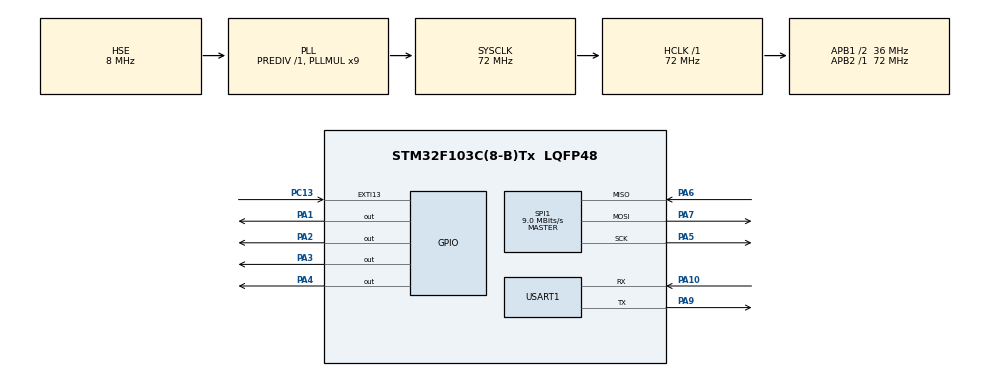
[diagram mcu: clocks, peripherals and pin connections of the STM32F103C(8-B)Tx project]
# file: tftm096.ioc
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Mcu.Family=STM32F1
RCC.PLLSourceVirtual=RCC_PLLSOURCE_HSE
PA6.Mode=Full_Duplex_Master
FREERTOS.Tasks01=defaultTask,24,128,StartDefaultTask,Default,NULL,Dynamic,NULL,NULL
PA7.Mode=Full_Duplex_Master
PD1-OSC_OUT.Mode=HSE-External-Oscillator
PA10.Mode=Asynchronous
SPI1.VirtualType=VM_MASTER
PC13-TAMPER-RTC.Signal=GPXTI13
PD0-OSC_IN.Signal=RCC_OSC_IN
RCC.APB1CLKDivider=RCC_HCLK_DIV2
RCC.SYSCLKSource=RCC_SYSCLKSOURCE_PLLCLK
ProjectManager.StackSize=0x400
VP_FREERTOS_VS_CMSIS_V2.Mode=CMSIS_V2
PD1-OSC_OUT.Signal=RCC_OSC_OUT
PA13.Signal=SYS_JTMS-SWDIO
PA9.Mode=Asynchronous
ProjectManager.TargetToolchain=Makefile
SPI1.Direction=SPI_DIRECTION_2LINES
RCC.HCLKFreq_Value=72000000
RCC.APB2TimFreq_Value=72000000
PA9.Signal=USART1_TX
SPI1.CalculateBaudRate=9.0 MBits/s
RCC.USBFreq_Value=72000000
PA1.Signal=GPIO_Output
RCC.AHBFreq_Value=72000000
PD0-OSC_IN.Mode=HSE-External-Oscillator
NVIC.EXTI15_10_IRQn=true\:5\:0\:false\:false\:true\:true\:true\:true
PA5.Signal=SPI1_SCK
board=custom
RCC.PLLMUL=RCC_PLL_MUL9
NVIC.SPI1_IRQn=true\:5\:0\:false\:false\:true\:true\:true\:true
RCC.APB2Freq_Value=72000000
SPI1.CRCCalculation=SPI_CRCCALCULATION_DISABLE
SPI1.Mode=SPI_MODE_MASTER
PA14.Mode=Serial_Wire
SPI1.FirstBit=SPI_FIRSTBIT_MSB
PA13.Mode=Serial_Wire
Mcu.Name=STM32F103C(8-B)Tx
PA2.Signal=GPIO_Output
PA4.Signal=GPIO_Output
RCC.SYSCLKFreq_VALUE=72000000
Mcu.Package=LQFP48
PA6.Signal=SPI1_MISO
NVIC.TimeBase=TIM4_IRQn
PC13-TAMPER-RTC.GPIO_PuPd=GPIO_PULLDOWN
USART1.VirtualMode=VM_ASYNC
NVIC.TimeBaseIP=TIM4
PA10.Signal=USART1_RX
PA14.Signal=SYS_JTCK-SWCLK
ProjectManager.HeapSize=0x200
VP_SYS_VS_tim4.Mode=TIM4
NVIC.PriorityGroup=NVIC_PRIORITYGROUP_4
RCC.APB1TimFreq_Value=72000000
NVIC.USART1_IRQn=true\:5\:0\:false\:false\:true\:true\:true\:true
NVIC.TIM4_IRQn=true\:0\:0\:false\:false\:true\:false\:false\:true
RCC.APB1Freq_Value=36000000
SPI1.BaudRatePrescaler=SPI_BAUDRATEPRESCALER_8
NVIC.RCC_IRQn=true\:5\:0\:false\:false\:true\:true\:true\:false
PA3.Signal=GPIO_Output
PA5.Mode=Full_Duplex_Master
PA7.Signal=SPI1_MOSI

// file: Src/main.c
/* USER CODE BEGIN Header */
/**
  ******************************************************************************
  * @file           : main.c
  * @brief          : Main program body
  ******************************************************************************
  * @attention
  *
  * <h2><center>&copy; Copyright (c) 2020 STMicroelectronics.
  * All rights reserved.</center></h2>
  *
  * This software component is licensed by ST under Ultimate Liberty license
  * SLA0044, the "License"; You may not use this file except in compliance with
  * the License. You may obtain a copy of the License at:
  *                             www.st.com/SLA0044
  *
  ******************************************************************************
  */
/* USER CODE END Header */

#include "main.h"
#include "cmsis_os.h"

/* USER CODE BEGIN Includes */
//#define ST7735_IS_80X160
#include <FreeRTOSConfig.h>
#include <projdefs.h>
#include <FreeRTOS.h>
#include <event_groups.h>
#include <task.h>
#include <stdlib.h>
#include <string.h>
#include "st7735/st7735.h"
#include "st7735/fonts.h"
#include "st7735/testimg.h"
/* USER CODE END Includes */

SPI_HandleTypeDef hspi1;

UART_HandleTypeDef huart1;

/* Definitions for defaultTask */
osThreadId_t defaultTaskHandle;
const osThreadAttr_t defaultTask_attributes = {
  .name = "defaultTask",
  .priority = (osPriority_t) osPriorityNormal,
  .stack_size = 128 * 4
};
/* USER CODE BEGIN PV */
static EventGroupHandle_t xEvtGrpGPIOInt;
#define EVENT_BIT_HUMAN_DETECT 0x01
#define EVENT_BITS_GPIO 0xFFFF
/* USER CODE END PV */

void SystemClock_Config(void);
static void MX_GPIO_Init(void);
static void MX_SPI1_Init(void);
static void MX_USART1_UART_Init(void);
void StartDefaultTask(void *argument);

int main(void)
{

  /* MCU Configuration--------------------------------------------------------*/

  /* Reset of all peripherals, Initializes the Flash interface and the Systick. */
  HAL_Init();

  /* Configure the system clock */
  SystemClock_Config();

  /* Initialize all configured peripherals */
  MX_GPIO_Init();
  MX_SPI1_Init();
  MX_USART1_UART_Init();
  /* USER CODE BEGIN 2 */
  ST7735_Init();
  xEvtGrpGPIOInt = xEventGroupCreate();
  /* USER CODE END 2 */

  /* Init scheduler */
  osKernelInitialize();

  /* Create the thread(s) */
  /* creation of defaultTask */
  defaultTaskHandle = osThreadNew(StartDefaultTask, NULL, &defaultTask_attributes);

  /* Start scheduler */
  osKernelStart();

  /* We should never get here as control is now taken by the scheduler */
  /* Infinite loop */
  while (1)
  {

  }
}

void SystemClock_Config(void)
{
  RCC_OscInitTypeDef RCC_OscInitStruct = {0};
  RCC_ClkInitTypeDef RCC_ClkInitStruct = {0};

  /** Initializes the CPU, AHB and APB busses clocks
  */
  RCC_OscInitStruct.OscillatorType = RCC_OSCILLATORTYPE_HSE;
  RCC_OscInitStruct.HSEState = RCC_HSE_ON;
  RCC_OscInitStruct.HSEPredivValue = RCC_HSE_PREDIV_DIV1;
  RCC_OscInitStruct.HSIState = RCC_HSI_ON;
  RCC_OscInitStruct.PLL.PLLState = RCC_PLL_ON;
  RCC_OscInitStruct.PLL.PLLSource = RCC_PLLSOURCE_HSE;
  RCC_OscInitStruct.PLL.PLLMUL = RCC_PLL_MUL9;
  if (HAL_RCC_OscConfig(&RCC_OscInitStruct) != HAL_OK)
  {
    Error_Handler();
  }
  /** Initializes the CPU, AHB and APB busses clocks
  */
  RCC_ClkInitStruct.ClockType = RCC_CLOCKTYPE_HCLK|RCC_CLOCKTYPE_SYSCLK
                              |RCC_CLOCKTYPE_PCLK1|RCC_CLOCKTYPE_PCLK2;
  RCC_ClkInitStruct.SYSCLKSource = RCC_SYSCLKSOURCE_PLLCLK;
  RCC_ClkInitStruct.AHBCLKDivider = RCC_SYSCLK_DIV1;
  RCC_ClkInitStruct.APB1CLKDivider = RCC_HCLK_DIV2;
  RCC_ClkInitStruct.APB2CLKDivider = RCC_HCLK_DIV1;

  if (HAL_RCC_ClockConfig(&RCC_ClkInitStruct, FLASH_LATENCY_2) != HAL_OK)
  {
    Error_Handler();
  }
}

static void MX_SPI1_Init(void)
{

  /* SPI1 parameter configuration*/
  hspi1.Instance = SPI1;
  hspi1.Init.Mode = SPI_MODE_MASTER;
  hspi1.Init.Direction = SPI_DIRECTION_2LINES;
  hspi1.Init.DataSize = SPI_DATASIZE_8BIT;
  hspi1.Init.CLKPolarity = SPI_POLARITY_LOW;
  hspi1.Init.CLKPhase = SPI_PHASE_1EDGE;
  hspi1.Init.NSS = SPI_NSS_SOFT;
  hspi1.Init.BaudRatePrescaler = SPI_BAUDRATEPRESCALER_8;
  hspi1.Init.FirstBit = SPI_FIRSTBIT_MSB;
  hspi1.Init.TIMode = SPI_TIMODE_DISABLE;
  hspi1.Init.CRCCalculation = SPI_CRCCALCULATION_DISABLE;
  hspi1.Init.CRCPolynomial = 10;
  if (HAL_SPI_Init(&hspi1) != HAL_OK)
  {
    Error_Handler();
  }

}

static void MX_USART1_UART_Init(void)
{

  huart1.Instance = USART1;
  huart1.Init.BaudRate = 115200;
  huart1.Init.WordLength = UART_WORDLENGTH_8B;
  huart1.Init.StopBits = UART_STOPBITS_1;
  huart1.Init.Parity = UART_PARITY_NONE;
  huart1.Init.Mode = UART_MODE_TX_RX;
  huart1.Init.HwFlowCtl = UART_HWCONTROL_NONE;
  huart1.Init.OverSampling = UART_OVERSAMPLING_16;
  if (HAL_UART_Init(&huart1) != HAL_OK)
  {
    Error_Handler();
  }

}

static void MX_GPIO_Init(void)
{
  GPIO_InitTypeDef GPIO_InitStruct = {0};

  /* GPIO Ports Clock Enable */
  __HAL_RCC_GPIOC_CLK_ENABLE();
  __HAL_RCC_GPIOD_CLK_ENABLE();
  __HAL_RCC_GPIOA_CLK_ENABLE();

  /*Configure GPIO pin Output Level */
  HAL_GPIO_WritePin(GPIOA, GPIO_PIN_1|GPIO_PIN_2|GPIO_PIN_3|GPIO_PIN_4, GPIO_PIN_RESET);

  /*Configure GPIO pin : PC13 */
  GPIO_InitStruct.Pin = GPIO_PIN_13;
  GPIO_InitStruct.Mode = GPIO_MODE_IT_RISING;
  GPIO_InitStruct.Pull = GPIO_PULLDOWN;
  HAL_GPIO_Init(GPIOC, &GPIO_InitStruct);

  /*Configure GPIO pins : PA1 PA2 PA3 PA4 */
  GPIO_InitStruct.Pin = GPIO_PIN_1|GPIO_PIN_2|GPIO_PIN_3|GPIO_PIN_4;
  GPIO_InitStruct.Mode = GPIO_MODE_OUTPUT_PP;
  GPIO_InitStruct.Pull = GPIO_NOPULL;
  GPIO_InitStruct.Speed = GPIO_SPEED_FREQ_LOW;
  HAL_GPIO_Init(GPIOA, &GPIO_InitStruct);

  /* EXTI interrupt init*/
  HAL_NVIC_SetPriority(EXTI15_10_IRQn, 5, 0);
  HAL_NVIC_EnableIRQ(EXTI15_10_IRQn);

}

/* USER CODE BEGIN 4 */
void HAL_GPIO_EXTI_Callback(uint16_t pinNum){
  if(pinNum == GPIO_PIN_13){
    xEventGroupSetBitsFromISR(xEvtGrpGPIOInt, EVENT_BIT_HUMAN_DETECT, pdFALSE);
  }
}
/* USER CODE END 4 */

void StartDefaultTask(void *argument)
{
  /* USER CODE BEGIN 5 */
  /* Infinite loop */
  uint16_t colors[] = {ST7735_GREEN, ST7735_RED, ST7735_BLUE, ST7735_MAGENTA, ST7735_YELLOW, ST7735_WHITE, ST7735_CYAN, ST7735_BLACK};
  uint32_t tick, color;
  char chara[2] = {0,0};
  srand(0);
  uint16_t currBgColor = 999999;
  ST7735_FillScreen(ST7735_BLACK);
  const char *strOffOn[] = {"NO HUMAN DETECTED", "  "};
  char strOneDigit[2] = {0,0};
  ST7735_WriteString(0, 0, strOffOn[0], Font_11x18, ST7735_YELLOW, ST7735_BLACK);
  for(int i = 0;;i++)
  {

    // ST7735_FillScreen(ST7735_BLACK);

    // for(int x = 0; x < ST7735_WIDTH; x++) {
    //     ST7735_DrawPixel(x, 0, ST7735_RED);
    //     ST7735_DrawPixel(x, ST7735_HEIGHT-1, ST7735_RED);
    // }

    // for(int y = 0; y < ST7735_HEIGHT; y++) {
    //     ST7735_DrawPixel(0, y, ST7735_RED);
    //     ST7735_DrawPixel(ST7735_WIDTH-1, y, ST7735_RED);
    // }

    // osDelay(1000/portTICK_PERIOD_MS);

    // // Check fonts
    // ST7735_FillScreen(ST7735_BLACK);
    // ST7735_WriteString(0, 0, "Font_7x10, red on black", Font_7x10, ST7735_RED, ST7735_BLACK);
    // ST7735_WriteString(0, 3*10, "Font_11x18, green", Font_11x18, ST7735_GREEN, ST7735_BLACK);
    // ST7735_WriteString(0, 3*10+3*18, "Font_16x26", Font_16x26, ST7735_BLUE, ST7735_BLACK);
    // osDelay(5000/portTICK_PERIOD_MS);

    // // Check colors
    EventBits_t bits = xEventGroupWaitBits(xEvtGrpGPIOInt, EVENT_BITS_GPIO, pdTRUE, pdFALSE, 10000/portTICK_PERIOD_MS);
    if(bits & EVENT_BIT_HUMAN_DETECT){
        ST7735_WriteString(0, 0, strOffOn[1], Font_11x18, ST7735_YELLOW, ST7735_BLACK);
    }else{
        ST7735_WriteString(0, 0, strOffOn[0], Font_11x18, ST7735_YELLOW, ST7735_BLACK);
    }
    strOneDigit[0] = i%10+48;
    ST7735_WriteString(0, 18*2+2, strOneDigit, Font_11x18, ST7735_YELLOW, ST7735_BLACK);

    #ifdef ST7735_IS_80X160
    ST7735_DrawImage(0, 0, ST7735_WIDTH, ST7735_HEIGHT, (uint16_t*)test_img_80x160);
    osDelay(5000/portTICK_PERIOD_MS);
    #endif
  }
  /* USER CODE END 5 */
}

 /**
  * @brief  Period elapsed callback in non blocking mode
  * @note   This function is called  when TIM4 interrupt took place, inside
  * HAL_TIM_IRQHandler(). It makes a direcat call to HAL_IncTick() to increment
  * a global variable "uwTick" used as application time base.
  * @param  htim : TIM handle
  * @retval None
  */
void HAL_TIM_PeriodElapsedCallback(TIM_HandleTypeDef *htim)
{
  if (htim->Instance == TIM4) {
    HAL_IncTick();
  }
}

void Error_Handler(void)
{
}

/************************ (C) COPYRIGHT STMicroelectronics *****END OF FILE****/
